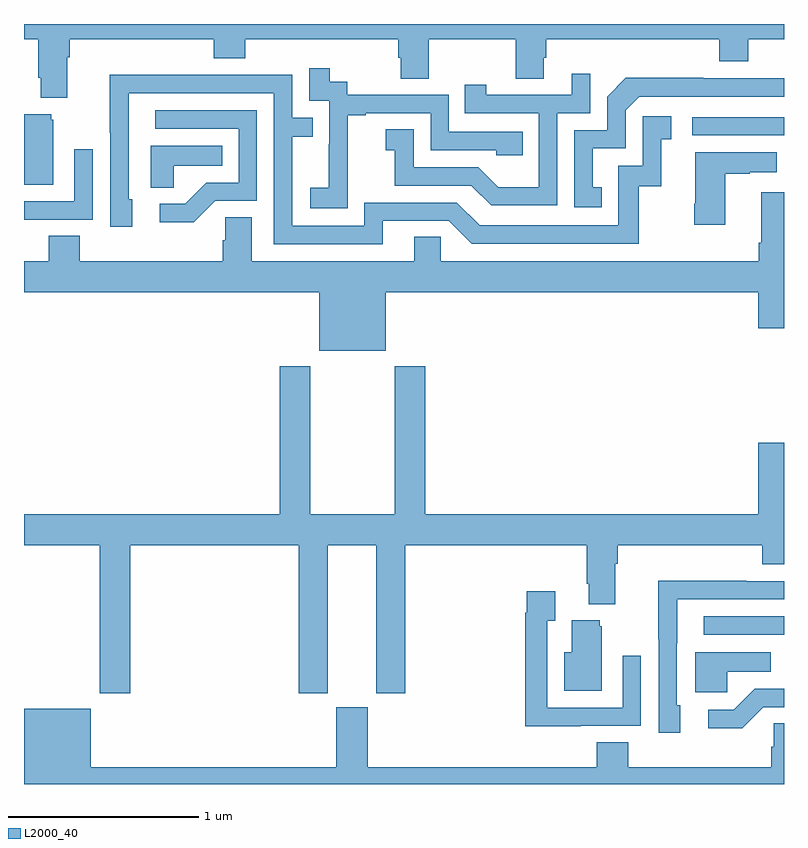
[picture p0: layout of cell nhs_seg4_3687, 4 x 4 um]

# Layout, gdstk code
import gdstk
lib = gdstk.Library(unit=1e-6, precision=1e-09)
def R(c, l, rs):  # rectangles x0, y0, x1, y1
    for r in rs: c.add(gdstk.rectangle(r[:2], r[2:], *l))
def P(c, l, *ps):  # polygons
    for p in ps: c.add(gdstk.Polygon(p, *l))
L2000_40 = (2000, 40)

nhs_seg4_3687 = lib.new_cell('nhs_seg4_3687')
R(nhs_seg4_3687, L2000_40, [(308.577,793.686,309,793.782), (308.517,796.314,309,796.41)])
P(nhs_seg4_3687, L2000_40, [(305.227,796.724),(305.24,796.724),(305.24,796.82),(305.999,796.82),(305.999,796.721),(306.164,796.721),(306.164,796.82),(306.971,796.82),(306.971,796.722),(306.983,796.722),(306.983,796.612),(307.131,796.612),(307.131,796.82),(307.588,796.82),(307.588,796.612),(307.735,796.612),(307.735,796.722),(307.748,796.722),(307.748,796.82),(308.66,796.82),(308.66,796.703),(308.812,796.703),(308.812,796.82),(309,796.82),(309,796.9),(305,796.9),(305,796.82),(305.075,796.82),(305.075,796.618),(305.087,796.618),(305.087,796.511),(305.227,796.511)],
  [(306.705,796.135),(306.704,796.135),(306.704,796.419),(306.799,796.419),(306.799,796.431),(307.14,796.431),(307.14,796.236),(307.485,796.236),(307.485,796.209),(307.625,796.209),(307.625,796.332),(307.236,796.332),(307.236,796.527),(306.702,796.527),(306.702,796.596),(306.61,796.596),(306.61,796.666),(306.501,796.666),(306.501,796.497),(306.606,796.497),(306.606,796.268),(306.605,796.268),(306.605,796.039),(306.507,796.039),(306.507,795.929),(306.705,795.929)],
  [(307.806,796.431),(307.98,796.431),(307.98,796.639),(307.883,796.639),(307.883,796.527),(307.432,796.527),(307.432,796.579),(307.321,796.579),(307.321,796.431),(307.71,796.431),(307.71,796.042),(307.496,796.042),(307.392,796.146),(307.05,796.146),(307.05,796.345),(306.903,796.345),(306.903,796.235),(306.952,796.235),(306.952,796.05),(307.355,796.05),(307.46,795.945),(307.806,795.945)],
  [(306.889,795.864),(307.236,795.864),(307.356,795.744),(308.236,795.744),(308.236,796.047),(308.354,796.047),(308.354,796.293),(308.407,796.293),(308.407,796.414),(308.256,796.414),(308.256,796.155),(308.127,796.155),(308.127,795.84),(307.398,795.84),(307.278,795.96),(306.792,795.96),(306.792,795.837),(306.411,795.837),(306.411,796.306),(306.521,796.306),(306.521,796.407),(306.411,796.407),(306.411,796.632),(305.915,796.632),(305.915,796.634),(305.452,796.634),(305.452,796.327),(305.454,796.327),(305.454,795.834),(305.569,795.834),(305.569,795.978),(305.55,795.978),(305.55,796.536),(306.315,796.536),(306.315,795.741),(306.889,795.741)],
  [(308.042,796.041),(307.993,796.041),(307.993,796.245),(308.166,796.245),(308.166,796.446),(308.238,796.518),(309,796.518),(309,796.614),(308.576,796.614),(308.576,796.616),(308.168,796.616),(308.07,796.518),(308.07,796.341),(307.896,796.341),(307.896,795.936),(308.042,795.936)],
  [(306.006,795.969),(306.225,795.969),(306.225,796.446),(305.691,796.446),(305.691,796.35),(306.129,796.35),(306.129,796.065),(305.96,796.065),(305.849,795.954),(305.715,795.954),(305.715,795.857),(305.893,795.857)],
  [(305.155,796.395),(305.144,796.395),(305.144,796.426),(305,796.426),(305,796.055),(305.155,796.055)],
  [(305.787,796.154),(306.044,796.154),(306.044,796.258),(305.666,796.258),(305.666,796.039),(305.787,796.039)],
  [(305.045,795.87),(305.361,795.87),(305.361,796.24),(305.265,796.24),(305.265,795.966),(305,795.966),(305,795.869),(305.045,795.869)],
  [(308.692,796.111),(308.819,796.111),(308.819,796.121),(308.962,796.121),(308.962,796.225),(308.534,796.225),(308.534,795.955),(308.527,795.955),(308.527,795.843),(308.692,795.843)],
  [(306.904,795.488),(308.864,795.488),(308.864,795.3),(309,795.3),(309,796.015),(308.879,796.015),(308.879,795.748),(308.867,795.748),(308.867,795.652),(307.194,795.652),(307.194,795.779),(307.055,795.779),(307.055,795.652),(306.199,795.652),(306.199,795.884),(306.06,795.884),(306.06,795.761),(306.047,795.761),(306.047,795.652),(305.294,795.652),(305.294,795.785),(305.129,795.785),(305.129,795.652),(305,795.652),(305,795.488),(306.554,795.488),(306.554,795.179),(306.904,795.179)],
  [(305.558,794.156),(306.446,794.156),(306.446,793.377),(306.598,793.377),(306.598,794.156),(306.854,794.156),(306.854,793.377),(307.007,793.377),(307.007,794.156),(307.961,794.156),(307.961,793.954),(307.973,793.954),(307.973,793.847),(308.113,793.847),(308.113,794.06),(308.126,794.06),(308.126,794.156),(308.885,794.156),(308.885,794.057),(309,794.057),(309,794.695),(308.864,794.695),(308.864,794.32),(307.112,794.32),(307.112,795.1),(306.952,795.1),(306.952,794.32),(306.507,794.32),(306.507,795.1),(306.347,795.1),(306.347,794.32),(305,794.32),(305,794.156),(305.398,794.156),(305.398,793.377),(305.558,793.377)],
  [(308.455,793.314),(308.436,793.314),(308.436,793.642),(308.437,793.642),(308.437,793.872),(309,793.872),(309,793.968),(308.801,793.968),(308.801,793.97),(308.338,793.97),(308.338,793.663),(308.34,793.663),(308.34,793.17),(308.455,793.17)],
  [(307.931,793.206),(308.247,793.206),(308.247,793.576),(308.151,793.576),(308.151,793.302),(307.755,793.302),(307.755,793.759),(307.795,793.759),(307.795,793.915),(307.647,793.915),(307.647,793.802),(307.639,793.802),(307.639,793.205),(307.931,793.205)],
  [(308.041,793.731),(308.03,793.731),(308.03,793.762),(307.883,793.762),(307.883,793.594),(307.844,793.594),(307.844,793.391),(308.041,793.391)],
  [(308.7,793.49),(308.93,793.49),(308.93,793.594),(308.534,793.594),(308.534,793.382),(308.7,793.382)],
  [(308.892,793.305),(309,793.305),(309,793.401),(308.846,793.401),(308.735,793.29),(308.601,793.29),(308.601,793.193),(308.779,793.193)],
  [(309,793.22),(308.946,793.22),(308.946,793.097),(308.933,793.097),(308.933,792.988),(308.18,792.988),(308.18,793.121),(308.015,793.121),(308.015,792.988),(306.808,792.988),(306.808,793.305),(306.644,793.305),(306.644,792.988),(305.35,792.988),(305.35,793.297),(305,793.297),(305,792.9),(309,792.9)])

lib.write_gds('nhs_seg4_3687.gds')
